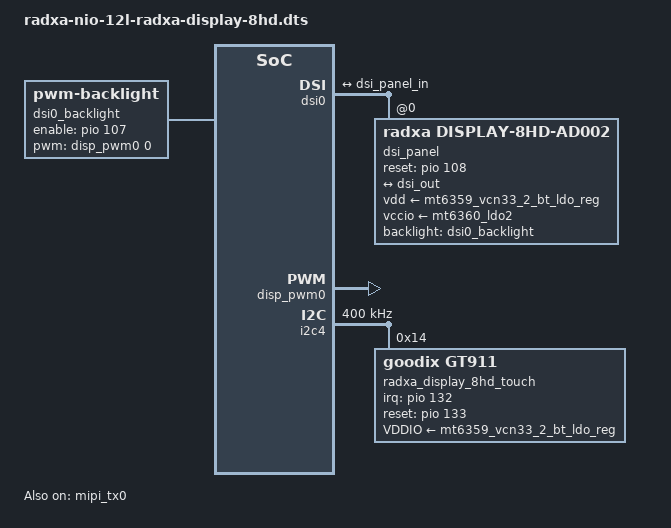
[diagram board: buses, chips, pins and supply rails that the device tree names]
// SPDX-License-Identifier: GPL-2.0
/*
 * Copyright (c) 2023 Radxa Limited.
 *
 */

#include <dt-bindings/gpio/gpio.h>
#include <dt-bindings/pinctrl/mt8195-pinfunc.h>
#include <dt-bindings/interrupt-controller/irq.h>

/dts-v1/;
/plugin/;

/ {
	fragment@0 {
		target-path = "/";
		__overlay__ {
			dsi0_backlight: dsi0-backlight {
				status = "okay";
				compatible = "pwm-backlight";
				pwms = <&disp_pwm0 0 500000>;
				brightness-levels = <0 1023>;
				num-interpolated-steps = <1023>;
				default-brightness-level = <576>;
				enable-gpios = <&pio 107 GPIO_ACTIVE_HIGH>;
			};
		};
	};

	fragment@1 {
		target = <&pio>;
		__overlay__ {
			panel_pins_default: panel-pins-default {
				panel_rst: panel-rst {
					pinmux = <PINMUX_GPIO108__FUNC_GPIO108>;
					bias-pull-up;
				};
			};

			dsi0_backlight_pins: dsi0-backlight-pins {
				dsi0_backlight_en: dsi0_backlight-en {
					pinmux = <PINMUX_GPIO107__FUNC_GPIO107>;
					output-high;
				};
			};

			pwm0_gpio_def_cfg: pwm0-gpio-def-default {
				pins_cmd_dat {
					pinmux = <PINMUX_GPIO97__FUNC_DISP_PWM0>;
				};
			};

			touch_pins: touch-pins {
				touch_pin_irq: touch-pin-irq {
					pinmux = <PINMUX_GPIO132__FUNC_GPIO132>;
					input-enable;
					bias-disable;
				};

				touch_pin_reset: touch-pin-reset {
					pinmux = <PINMUX_GPIO133__FUNC_GPIO133>;
					output-high;
				};
			};
		};
	};

	fragment@2 {
		target = <&mipi_tx0>;
		__overlay__ {
			status = "okay";
		};
	};

	fragment@3 {
		target = <&dsi0>;
		__overlay__ {
			status = "okay";
			#address-cells = <1>;
			#size-cells = <0>;
			poweron-in-hs-mode = <0>;

			dsi_panel@0 {
				compatible = "radxa,display-8hd-ad002", "jadard,jd9365da-h3";
				status = "okay";
				reg = <0>;
				pinctrl-names = "default";
				pinctrl-0 = <&panel_pins_default>;

				vdd-supply = <&mt6359_vcn33_2_bt_ldo_reg>;
				vccio-supply = <&mt6360_ldo2>;
				reset-gpios = <&pio 108 GPIO_ACTIVE_HIGH>;

				backlight = <&dsi0_backlight>;

				port {
					dsi_panel_in: endpoint {
						remote-endpoint = <&dsi_out>;
					};
				};
			};

			ports {
				port {
					dsi_out: endpoint {
						remote-endpoint = <&dsi_panel_in>;
					};
				};
			};
		};
	};

	fragment@4 {
		target = <&disp_pwm0>;
		__overlay__ {
			pinctrl-names = "default";
			pinctrl-0 = <&pwm0_gpio_def_cfg>;
			status = "okay";
		};
	};

	fragment@5 {
		target = <&dp_intf1>;
		__overlay__ {
			status = "disabled";
		};
	};

	fragment@6 {
		target = <&dp_tx>;
		__overlay__ {
			status = "disabled";
		};
	};

	fragment@7 {
		target = <&disp_dpi1>;
		__overlay__ {
			status = "disabled";
		};
	};

	fragment@8 {
		target = <&hdmi0>;
		__overlay__ {
			status = "disabled";
		};
	};

	fragment@9 {
		target = <&ovl1>;
		__overlay__ {
			status = "disabled";
		};
	};

	fragment@10 {
		target = <&i2c4>;
		__overlay__ {
			status = "okay";
			clock-frequency = <400000>;
			pinctrl-0 = <&i2c4_pins>;
			pinctrl-names = "default";

			radxa_display_8hd_touch: radxa-display-8hd-touch@14 {
				compatible = "goodix,gt911";
				reg = <0x14>;
				interrupt-parent = <&pio>;
				interrupts = <132 IRQ_TYPE_EDGE_RISING>;
				irq-gpios = <&pio 132 GPIO_ACTIVE_HIGH>;
				reset-gpios = <&pio 133 GPIO_ACTIVE_HIGH>;
				VDDIO-supply = <&mt6359_vcn33_2_bt_ldo_reg>;
				pinctrl-names = "default";
				pinctrl-0 = <&touch_pins>;
			};
		};
	};
};
